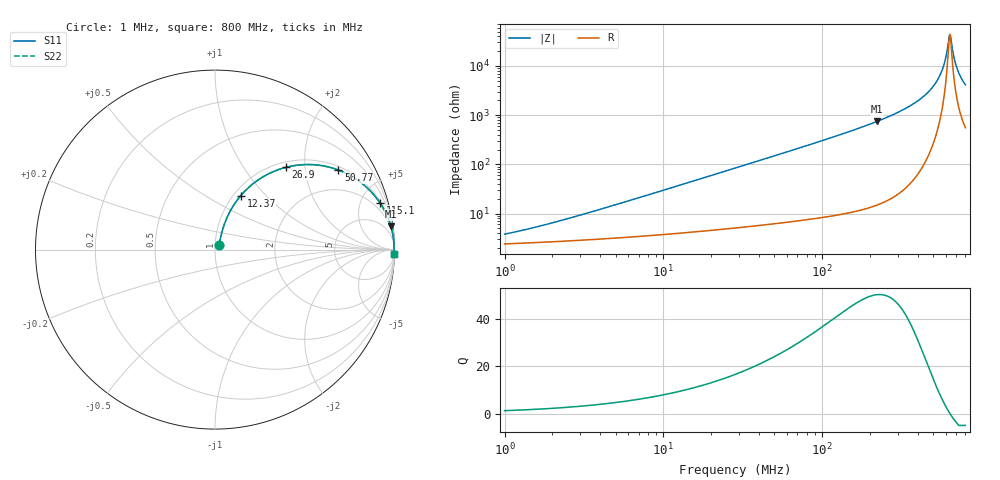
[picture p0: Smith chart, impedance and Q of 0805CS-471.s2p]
# MHz S MA R 50
!Freq  MagS11  AngS11  MagS21  AngS21  MagS12  AngS12  MagS22  AngS22
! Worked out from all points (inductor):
!   801 points, 1 MHz to 800 MHz, reference 50 ohm
!   read as one part in series: L = 470 nH near 2.89 MHz
!   highest Q = 50.1 at 222.8 MHz (marker M1), where L = 535 nH
!   self-resonance near 638.4 MHz
!   S11 on the Smith chart (normalised r, x): 1 MHz: 1.05, +0.06; 12.37 MHz: 1.08, +0.73; 26.9 MHz: 1.10, +1.59; 50.77 MHz: 1.12, +3.02; 115.1 MHz: 1.18, +7.03; 800 MHz: 12, -82
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1  0.03723 49.1  0.976 -1.7  0.976 -1.7  0.03723 49.1
3.063851  0.09193 67.3  0.9683 -5.0  0.9683 -5.0  0.09193 67.3
9.30907  0.2586 67.5  0.9323 -14.9  0.9323 -14.9  0.2586 67.5
12.36766  0.3335 64.4  0.9075 -19.4  0.9075 -19.4  0.3335 64.4
26.90121  0.6052 49.2  0.759 -37.2  0.759 -37.2  0.6052 49.2
28.28427  0.6241 48.0  0.7444 -38.5  0.7444 -38.5  0.6241 48.0
50.76511  0.8183 32.8  0.542 -54.8  0.542 -54.8  0.8183 32.8
86.65878  0.9246 20.8  0.3545 -67.5  0.3545 -67.5  0.9246 20.8
115.1314  0.9555 15.8  0.2718 -72.8  0.2718 -72.8  0.9555 15.8
222.7789  0.9886 7.6  0.132 -81.3  0.132 -81.3  0.9886 7.6
263.3003  0.9922 6.1  0.1059 -82.8  0.1059 -82.8  0.9922 6.1
386.7043  0.9968 3.2  0.05534 -85.1  0.05534 -85.1  0.9968 3.2
496.8723  0.9979 1.5  0.02697 -84.7  0.02697 -84.7  0.9979 1.5
567.9455  0.9979 0.7  0.01269 -80.3  0.01269 -80.3  0.9979 0.7
592.1762  0.9979 0.5  0.008361 -75.2  0.008361 -75.2  0.9979 0.5
622.6215  0.9978 0.2  0.003563 -51.6  0.003563 -51.6  0.9978 0.2
638.4262  0.9977 0.0  0.002284 -3.8  0.002284 -3.8  0.9977 0.0
654.6321  0.9976 -0.1  0.003432 46.5  0.003432 46.5  0.9976 -0.1
688.2884  0.9974 -0.4  0.00819 71.5  0.00819 71.5  0.9974 -0.4
717.6534  0.9972 -0.7  0.01251 76.9  0.01251 76.9  0.9972 -0.7
760.8811  0.9969 -1.1  0.01867 79.8  0.01867 79.8  0.9969 -1.1
800  0.9965 -1.4  0.02403 81.0  0.02403 81.0  0.9965 -1.4
